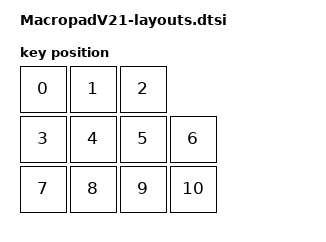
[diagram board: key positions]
#include <physical_layouts.dtsi>
#include <physical_layouts.dtsi>

/{
    macropad_physical_layout: macropad_physical_layout {
        compatible = "zmk,physical-layout";
        display-name = "Macro Pad";
        transform = <&matrix_transform0>;
        keys  //                    w    h    x    y    rot  rx  ry
            = <&key_physical_attrs 100  100  400    0     0   0   0>
            , <&key_physical_attrs 100  100  500    0     0   0   0>
            , <&key_physical_attrs 100  100  600    0     0   0   0>
            , <&key_physical_attrs 100  100  400  100     0   0   0>
            , <&key_physical_attrs 100  100  500  100     0   0   0>
            , <&key_physical_attrs 100  100  600  100     0   0   0>
            , <&key_physical_attrs 100  100  700  100     0   0   0>
            , <&key_physical_attrs 100  100  400  200     0   0   0>
            , <&key_physical_attrs 100  100  500  200     0   0   0>
            , <&key_physical_attrs 100  100  600  200     0   0   0>
            , <&key_physical_attrs 100  100  700  200     0   0   0>
            ;
    };

    matrix_transform0: matrix_transform {
        compatible = "zmk,matrix-transform";
        map = < 6  5  4
                3  2  1  0
               10  9  8  7 >;
        rows = <3>;
        columns = <4>;
    };
};
